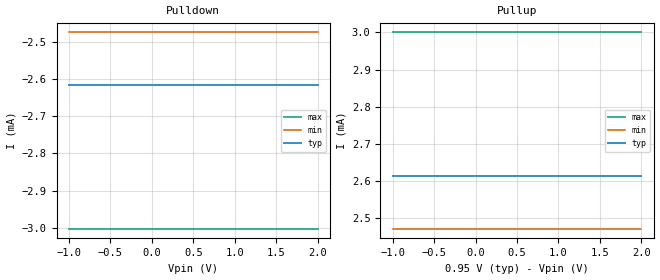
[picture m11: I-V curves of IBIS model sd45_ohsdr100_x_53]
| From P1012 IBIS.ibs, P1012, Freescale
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[Model]   sd45_ohsdr100_x_53
Model_type 3-state
Enable Active-High
Polarity Non-Inverting
|   TYP   MIN   MAX
C_comp   0.00pF   0.00pF   0.00pF
[Model Spec]
Vmeas   0.475   0.425   0.605
[Temperature Range] 65   125   -40
[Voltage Range]   0.95   0.85   1.21
[Pullup]
|   Vout(V)   TYP   WCS   BCS
-1V       2.615mA    2.472mA    3mA
2V        2.615mA    2.472mA    3mA
[Pulldown]
|   Vout(V)   TYP   WCS   BCS
-1V       -2.614mA   -2.474mA   -3.003mA
2V        -2.614mA   -2.474mA   -3.003mA
[GND Clamp]
|   Vout(V)   TYP   WCS   BCS
-1V       0A         0A         0A
1V        0A         0A         0A
[POWER Clamp]
|   Vout(V)   TYP   WCS   BCS
-1V       0A         0A         0A
0V        0A         0A         0A
[Ramp]
R_load=50
dV/dt_r  1.7449e-01/6.4215e-11  1.5361e-01/6.5528e-11  2.2871e-01/6.5586e-11
dV/dt_f  1.7449e-01/6.5823e-11  1.5361e-01/6.7896e-11  2.2872e-01/6.6497e-11
|[End   sd45_ohsdr100_x_53
